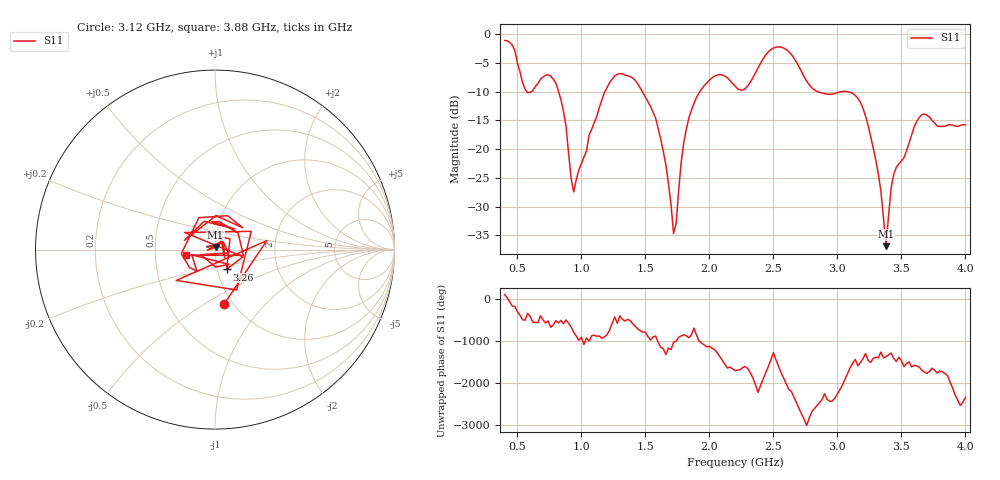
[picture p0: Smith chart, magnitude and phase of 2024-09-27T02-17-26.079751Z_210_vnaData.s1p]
!Created with skrf (http://scikit-rf.org).
# Hz S RI R 50.0
!freq ReS11 ImS11
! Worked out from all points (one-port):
!   181 points, 400 MHz to 4 GHz, reference 50 ohm
!   lowest |S11| = -36.9 dB at 3.38 GHz (marker M1), VSWR 1.03, Z = 50.3 + j1.41 ohm
!   |S11| at or under -10 dB: 821.8 MHz to 1.184 GHz (362.3 MHz wide, 36.1 % of centre); 1.475 GHz to 1.927 GHz (451.5 MHz wide, 26.5 % of centre); 3.071 GHz to end of sweep (the widest 3 of 5)
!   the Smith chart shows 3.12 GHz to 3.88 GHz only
!   S11 on the Smith chart (normalised r, x): 3.12 GHz: 0.92, -0.61; 3.26 GHz: 1.11, -0.25; 3.88 GHz: 0.72, -0.05
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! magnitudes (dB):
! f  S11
! 400 MHz  -1.1
! 580 MHz  -10.2
! 760 MHz  -7.3
! 860 MHz  -13.5
! 940 MHz  -27.4
! 1.18 GHz  -10.2
! 1.3 GHz  -6.9
! 1.58 GHz  -14.6
! 1.66 GHz  -22.7
! 1.72 GHz  -34.6
! 1.76 GHz  -27.1
! 1.8 GHz  -18.8
! 1.9 GHz  -11.0
! 2.06 GHz  -7.1
! 2.2 GHz  -9.0
! 2.5 GHz  -2.4
! 2.66 GHz  -4.2
! 2.84 GHz  -10.0
! 3.1 GHz  -10.1
! 3.12 GHz  -10.3
! 3.26 GHz  -17.9
! 3.34 GHz  -27.3
! 3.38 GHz  -36.9
! 3.44 GHz  -24.4
! 3.56 GHz  -19.0
! 3.66 GHz  -14.0
! 3.88 GHz  -15.8
! 4 GHz  -15.8
